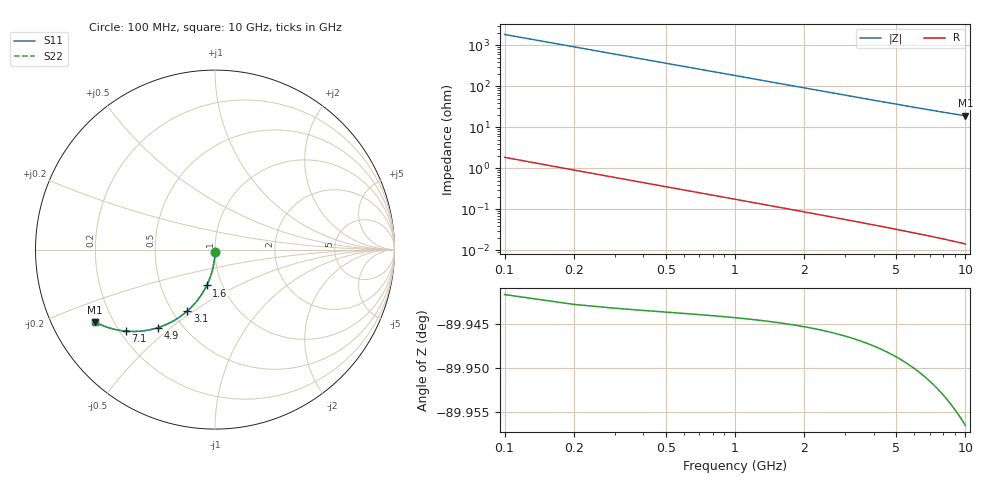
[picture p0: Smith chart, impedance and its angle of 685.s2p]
# Hz S RI R 50.00
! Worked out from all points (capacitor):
!   100 points, 100 MHz to 10 GHz, reference 50 ohm
!   read as one part in shunt: C = 873 fF near 100 MHz
!   lowest |Z| = 19.1 ohm at 10 GHz (marker M1)
!   S11 on the Smith chart (normalised r, x): 100 MHz: 1.00, -0.03; 1.6 GHz: 0.84, -0.35; 3.1 GHz: 0.59, -0.47; 4.9 GHz: 0.37, -0.45; 7.1 GHz: 0.22, -0.37; 10 GHz: 0.13, -0.27
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1e8  -5.13e-05 -0.0131  0.9996 -0.0143  0.9996 -0.0143  -5.13e-05 -0.0131
2e8  -0.000626 -0.0262  0.9991 -0.0286  0.9991 -0.0286  -0.000626 -0.0262
3e8  -0.00158 -0.0392  0.9981 -0.0429  0.9981 -0.0429  -0.00158 -0.0392
4e8  -0.0029 -0.0522  0.9968 -0.0572  0.9968 -0.0572  -0.0029 -0.0522
5e8  -0.00459 -0.0652  0.9951 -0.0713  0.9951 -0.0713  -0.00459 -0.0652
6e8  -0.00664 -0.078  0.993 -0.0855  0.993 -0.0855  -0.00664 -0.078
7e8  -0.00906 -0.0908  0.9906 -0.0995  0.9906 -0.0995  -0.00906 -0.0908
9e8  -0.015 -0.1161  0.9847 -0.1272  0.9847 -0.1272  -0.015 -0.1161
1.2e9  -0.0264 -0.1529  0.9732 -0.1678  0.9732 -0.1678  -0.0264 -0.1529
1.6e9  -0.0461 -0.1997  0.9534 -0.2196  0.9534 -0.2196  -0.0461 -0.1997
1.8e9  -0.0576 -0.2219  0.9418 -0.2443  0.9418 -0.2443  -0.0576 -0.2219
2.4e9  -0.0984 -0.2829  0.9009 -0.3127  0.9009 -0.3127  -0.0984 -0.2829
3.1e9  -0.1545 -0.3421  0.8444 -0.3807  0.8444 -0.3807  -0.1545 -0.3421
3.4e9  -0.1805 -0.3634  0.8183 -0.4058  0.8183 -0.4058  -0.1805 -0.3634
4.1e9  -0.2434 -0.4035  0.7549 -0.4548  0.7549 -0.4548  -0.2434 -0.4035
4.9e9  -0.3161 -0.4341  0.6817 -0.4957  0.6817 -0.4957  -0.3161 -0.4341
5.1e9  -0.334 -0.4395  0.6636 -0.5036  0.6636 -0.5036  -0.334 -0.4395
5.9e9  -0.4032 -0.453  0.5937 -0.5276  0.5937 -0.5276  -0.4032 -0.453
6.7e9  -0.4673 -0.456  0.5288 -0.5411  0.5288 -0.5411  -0.4673 -0.456
7.1e9  -0.4971 -0.4543  0.4985 -0.5447  0.4985 -0.5447  -0.4971 -0.4543
8.4e9  -0.5833 -0.438  0.4105 -0.5459  0.4105 -0.5459  -0.5833 -0.438
1e10  -0.6681 -0.4036  0.323 -0.5338  0.323 -0.5338  -0.6681 -0.4036
